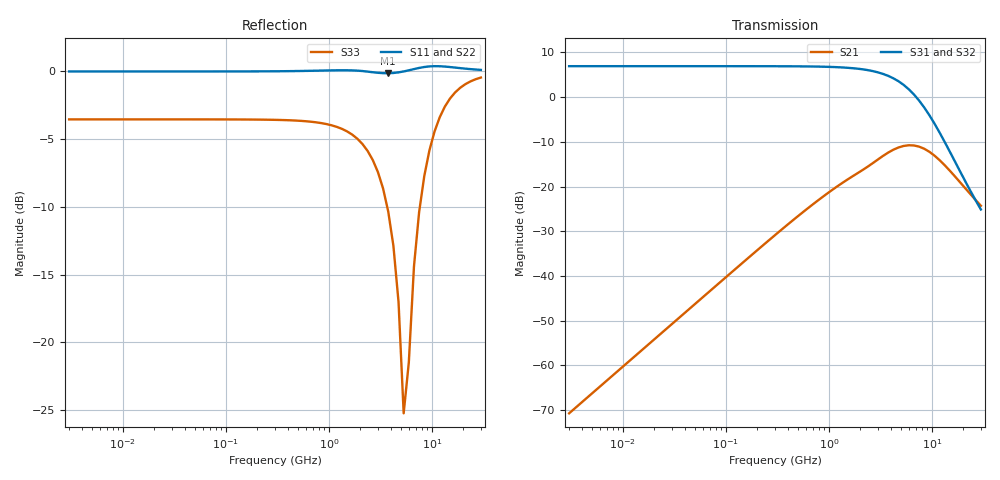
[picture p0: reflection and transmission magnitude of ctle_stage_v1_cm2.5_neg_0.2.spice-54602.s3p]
[Version] 2.0
# Hz S RI R 2000 2000 4000
[Number of Ports] 3
[Reference] 2000 2000 4000
!  Freq  ReS11  ImS11  ReS12  ImS12  ReS13  ImS13  ReS21  ImS21  ReS22  ImS22  ReS23  ImS23  ReS31  ImS31  ReS32  ImS32  ReS33  ImS33
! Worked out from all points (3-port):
!   81 points, 3 MHz to 30 GHz, reference per port
!   strongest paths, dB at 3 MHz, 30 MHz, 300 MHz, 3 GHz, 30 GHz:
!     S31: 6.9, 6.9, 6.9, 5.6, -25.1
!     S32: 6.9, 6.9, 6.9, 5.6, -25.1
!     S21: -70.7, -50.7, -30.9, -13.9, -24.3
!   lowest |S11| = -0.1 dB at 3.777 GHz (marker M1), VSWR 131.04
!   |S11| at or under -10 dB: nowhere
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[Number of Frequencies] 10
[Network Data]
3000000  1 -0.000658  4.51e-07 0.000291  2.38e-08 2.4e-05
         4.51e-07 0.000291  1 -0.000658  -2.38e-08 -2.4e-05
         2.222 -0.00292  -2.222 0.00292  -0.6652 0.000472
1.340051e7  1 -0.00294  9e-06 0.0013  4.75e-07 0.000107
            9e-06 0.0013  1 -0.00294  -4.75e-07 -0.000107
            2.222 -0.013  -2.222 0.013  -0.6652 0.00211
3e8  0.9993 -0.0664  0.0043 0.0283  0.000237 0.00238
     0.0043 0.0283  0.9993 -0.0664  -0.000237 -0.00238
     2.2 -0.2907  -2.2 0.2907  -0.6609 0.047
1.340051e9  0.9621 -0.3083  0.0563 0.0935  0.00443 0.00939
            0.0563 0.0935  0.9621 -0.3083  -0.00443 -0.00939
            1.795 -1.188  -1.795 1.188  -0.5836 0.19
2.123837e9  0.8835 -0.4756  0.1027 0.1135  0.01 0.0121
            0.1027 0.1135  0.8835 -0.4756  -0.01 -0.0121
            1.241 -1.633  -1.241 1.633  -0.4751 0.2551
3.776776e9  0.6739 -0.7182  0.2161 0.1051  0.0219 0.00857
            0.2161 0.1051  0.6739 -0.7182  -0.0219 -0.00857
            -0.052 -1.73  0.052 1.73  -0.2078 0.2216
5.334838e9  0.4725 -0.8814  0.2846 0.0117  0.0263 -0.00129
            0.2846 0.0117  0.4725 -0.8814  -0.0263 0.00129
            -0.7901 -1.121  0.7901 1.121  -0.05 0.0219
9.486833e9  -0.0858 -1.04  0.1759 -0.1704  0.0145 -0.0157
            0.1759 -0.1704  -0.0858 -1.04  -0.0145 0.0157
            -0.6103 0.1453  0.6103 -0.1453  -0.2211 -0.4607
1.503562e10  -0.5388 -0.8876  0.046 -0.1426  0.00366 -0.0125
             0.046 -0.1426  -0.5388 -0.8876  -0.00366 0.0125
             -0.0919 0.2257  0.0919 -0.2257  -0.5927 -0.5288
3e10  -0.8698 -0.52  0.00112 -0.061  2.19e-05 -0.00532
      0.00112 -0.061  -0.8698 -0.52  -2.19e-05 0.00532
      0.0418 0.0364  -0.0418 -0.0364  -0.8881 -0.336
[End]
